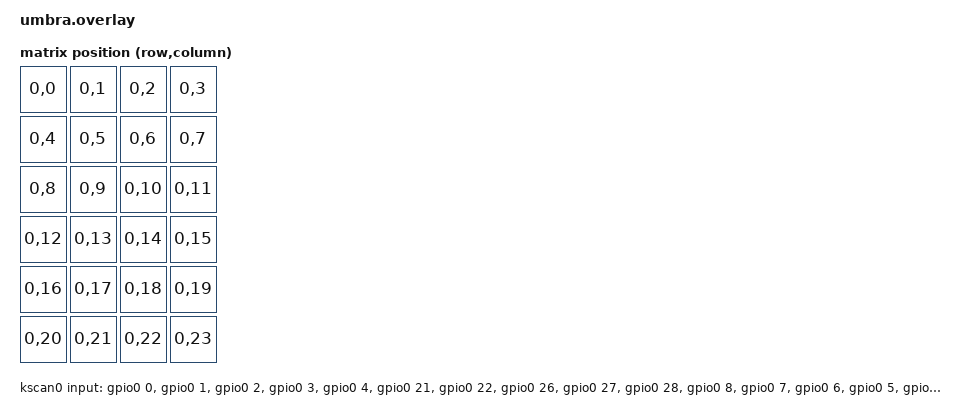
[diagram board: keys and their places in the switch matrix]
/*
 * Copyright (c) 2022 The ZMK Contributors
 *
 * SPDX-License-Identifier: MIT
 */
 
#include <dt-bindings/zmk/matrix_transform.h>

/ {
    default_transform: keymap_transform_0 {
        compatible = "zmk,matrix-transform";
        columns = <24>;
        rows = <1>;
        map = <
          RC(0,0)  RC(0,1)  RC(0,2)  RC(0,3)
          RC(0,4)  RC(0,5)  RC(0,6)  RC(0,7)
          RC(0,8)  RC(0,9)  RC(0,10)  RC(0,11)
          RC(0,12)  RC(0,13)  RC(0,14)  RC(0,15)
          RC(0,16)  RC(0,17)  RC(0,18)  RC(0,19)
          RC(0,20)  RC(0,21)  RC(0,22)  RC(0,23)
        >;
    };
    
    kscan0: kscan_0 {
        compatible = "zmk,kscan-gpio-direct";

        /* Pin mapping mirrors the canonical KMK config from
         * https://github.com/skarrmann/umbra/blob/main/firmware/kmk/kb.py
         * Index = key position (RC(0, idx) in the matrix transform).
         */
        input-gpios
            = <&gpio0 0  (GPIO_ACTIVE_LOW | GPIO_PULL_UP)>  /*  0 */
            , <&gpio0 1  (GPIO_ACTIVE_LOW | GPIO_PULL_UP)>  /*  1 */
            , <&gpio0 2  (GPIO_ACTIVE_LOW | GPIO_PULL_UP)>  /*  2 */
            , <&gpio0 3  (GPIO_ACTIVE_LOW | GPIO_PULL_UP)>  /*  3 */
            , <&gpio0 4  (GPIO_ACTIVE_LOW | GPIO_PULL_UP)>  /*  4 */
            , <&gpio0 21 (GPIO_ACTIVE_LOW | GPIO_PULL_UP)>  /*  5 */
            , <&gpio0 22 (GPIO_ACTIVE_LOW | GPIO_PULL_UP)>  /*  6 */
            , <&gpio0 26 (GPIO_ACTIVE_LOW | GPIO_PULL_UP)>  /*  7 */
            , <&gpio0 27 (GPIO_ACTIVE_LOW | GPIO_PULL_UP)>  /*  8 */
            , <&gpio0 28 (GPIO_ACTIVE_LOW | GPIO_PULL_UP)>  /*  9 */
            , <&gpio0 8  (GPIO_ACTIVE_LOW | GPIO_PULL_UP)>  /* 10 */
            , <&gpio0 7  (GPIO_ACTIVE_LOW | GPIO_PULL_UP)>  /* 11 */
            , <&gpio0 6  (GPIO_ACTIVE_LOW | GPIO_PULL_UP)>  /* 12 */
            , <&gpio0 5  (GPIO_ACTIVE_LOW | GPIO_PULL_UP)>  /* 13 */
            , <&gpio0 20 (GPIO_ACTIVE_LOW | GPIO_PULL_UP)>  /* 14 */
            , <&gpio0 19 (GPIO_ACTIVE_LOW | GPIO_PULL_UP)>  /* 15 */
            , <&gpio0 18 (GPIO_ACTIVE_LOW | GPIO_PULL_UP)>  /* 16 */
            , <&gpio0 17 (GPIO_ACTIVE_LOW | GPIO_PULL_UP)>  /* 17 */
            , <&gpio0 9  (GPIO_ACTIVE_LOW | GPIO_PULL_UP)>  /* 18 */
            , <&gpio0 10 (GPIO_ACTIVE_LOW | GPIO_PULL_UP)>  /* 19 */
            , <&gpio0 11 (GPIO_ACTIVE_LOW | GPIO_PULL_UP)>  /* 20 */
            , <&gpio0 12 (GPIO_ACTIVE_LOW | GPIO_PULL_UP)>  /* 21 */
            , <&gpio0 13 (GPIO_ACTIVE_LOW | GPIO_PULL_UP)>  /* 22 */
            , <&gpio0 14 (GPIO_ACTIVE_LOW | GPIO_PULL_UP)>  /* 23 */
            ;
    };

    physical_layout_main: physical_layout_main {
        compatible = "zmk,physical-layout";
        display-name = "Default Layout";
        kscan = <&kscan0>;
        transform = <&default_transform>;
    };

    chosen {
        zmk,kscan = &kscan0;
        zmk,matrix-transform = &default_transform;
        zmk,physical_layout = &physical_layout_main;
    };
};

/* Free the GPIOs that the rp2040_plus board enables for peripherals
 * but the umbra wires up as direct kscan inputs.
 *   i2c0 -> GP4 (SDA), GP5 (SCL)
 *   spi0 -> GP16, GP17, GP18, GP19
 *   adc  -> GP26, GP27, GP28, GP29 (via adc_default pinctrl)
 */
&i2c0 { status = "disabled"; };
&spi0 { status = "disabled"; };
&adc  { status = "disabled"; };
